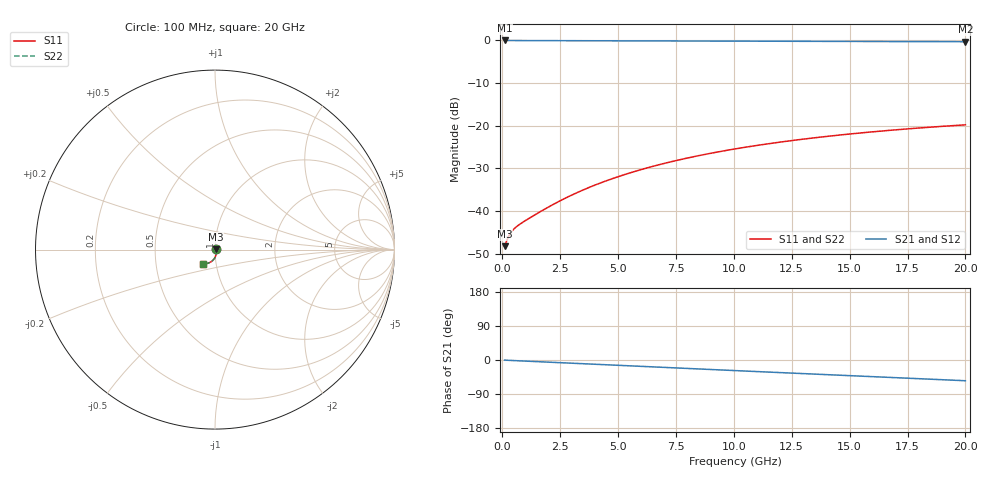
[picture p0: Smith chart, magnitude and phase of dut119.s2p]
! Touchstone file exported from HFSS 2026.1.0
!  File:  C:/ffzhzh/LocalFiles/Ansys_Project_Files/temp_train_BSMRDL_119_1782986005_41620.aedt
!  Generated:  05:55:07 PM Jul  2, 2026
!  Design:  BSMRDL
!  Project:  temp_train_BSMRDL_119_1782986005_41620
! Variables:
!  h_bsmrdl = 3.7um
!  h_ox = 20um
!  h_rdl = 5um
!  h_sub = 80um
!  h_tmrdl = 5um
!  h_tsv = 80um
!  h_via = 3um
!  l_bsmrdl = 974.97um
!  l_sub = 1374.97um
!  l_tmrdl = 200um
!  m_sub = 200um
!  pitch = 30.58um
!  r_tsv = 6um
!  s_tmrdl = 10um
!  w_bsmrdl = 27.32um
!  w_sub = 500um
!  w_tmrdl = 12um
!  x_tsv_center1 = 206um
!  x_tsv_center2 = 1208.29um
!  x_tsv_center3 = 1420.29um
!  x_tsv_center4 = 2422.58um
!  x_tsv_center5 = 2634.58um
!  x_tsv_center6 = 3636.87um
# GHz S MA R 50.000000
! Terminal data exported
! Port[1] = BSM_RDL1_1_T1
! Port[2] = BSM_RDL1_1_T2
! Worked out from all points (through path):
!   200 points, 100 MHz to 20 GHz, reference 50 ohm
!   highest |S21| = -0.03 dB at 100 MHz (marker M1); lowest = -0.3 dB at 20 GHz (marker M2)
!   group delay of S21, straight-line fit = 7.57 ps
!   lowest |S11| = -48.2 dB at 100 MHz (marker M3), VSWR 1.01, Z = 50.4 + j0.0597 ohm
!   |S11| at or under -10 dB: start of sweep to end of sweep
!   |S22| runs from -48.2 to -19.8 dB; largest |S21 - S12| = 4.8e-13
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0.1  0.003891 8.8  0.9962 -0.3  0.9962 -0.3  0.003891 8.8
! Gamma 0 0 0 0
! Port Impedance 50 0 50 0
0.2  0.00457 10.4  0.9955 -0.7  0.9955 -0.7  0.00457 10.4
0.3  0.005226 7.3  0.9948 -1.0  0.9948 -1.0  0.005226 7.3
0.4  0.005756 2.6  0.9942 -1.3  0.9942 -1.3  0.005756 2.6
0.5  0.006181 -2.3  0.9938 -1.5  0.9938 -1.5  0.006181 -2.3
0.7  0.00686 -11.5  0.9932 -2.1  0.9932 -2.1  0.006861 -11.5
1.3  0.008697 -31.8  0.9923 -3.8  0.9923 -3.8  0.008697 -31.8
2.1  0.0116 -48.2  0.9914 -6.0  0.9914 -6.0  0.01159 -48.2
2.8  0.01454 -57.4  0.9904 -8.0  0.9904 -8.0  0.01453 -57.4
3.5  0.01775 -64.0  0.9894 -10.0  0.9894 -10.0  0.01775 -64.0
4.2  0.02118 -69.2  0.9883 -11.9  0.9883 -11.9  0.02118 -69.2
5  0.02531 -74.1  0.9869 -14.1  0.9869 -14.1  0.02531 -74.1
5.9  0.03015 -78.9  0.9854 -16.6  0.9854 -16.6  0.03014 -78.9
6.8  0.03513 -83.1  0.9838 -19.1  0.9838 -19.1  0.03513 -83.1
7.6  0.03964 -86.6  0.9823 -21.3  0.9823 -21.3  0.03963 -86.6
8.4  0.04418 -90.0  0.9809 -23.5  0.9809 -23.5  0.04417 -90.0
10.1  0.05381 -96.6  0.978 -28.1  0.978 -28.1  0.0538 -96.6
11.7  0.0627 -102.5  0.9754 -32.4  0.9754 -32.4  0.06269 -102.5
13.4  0.07182 -108.4  0.9727 -37.0  0.9727 -37.0  0.07181 -108.5
15  0.08001 -113.8  0.9702 -41.3  0.9702 -41.3  0.08 -113.8
16.7  0.08822 -119.3  0.9676 -45.9  0.9676 -45.9  0.0882 -119.3
20  0.1024 -129.5  0.9627 -54.7  0.9627 -54.7  0.1024 -129.6
